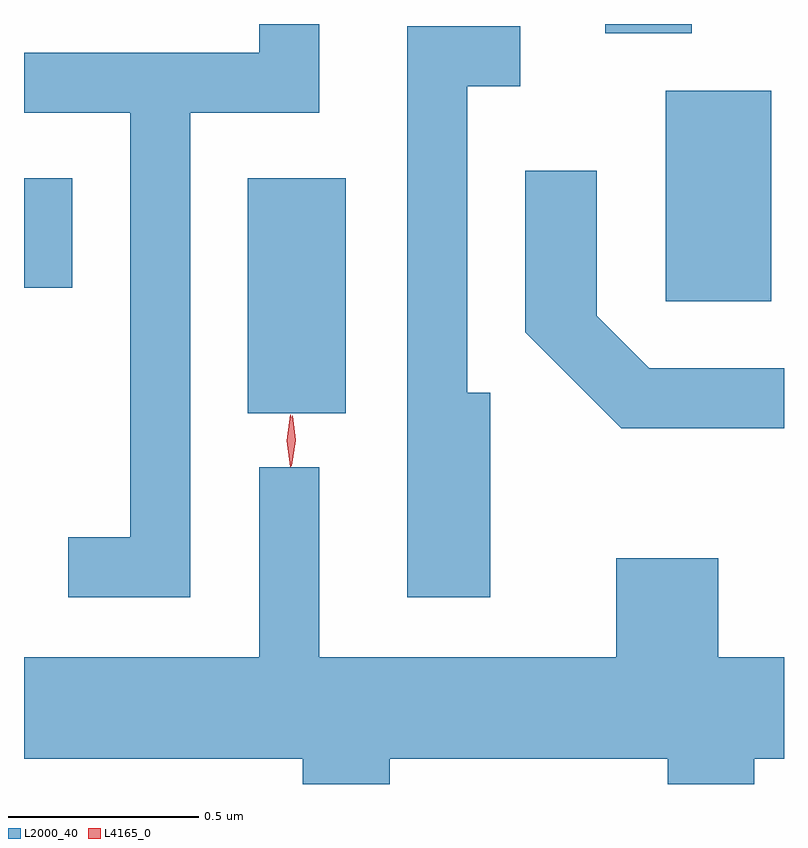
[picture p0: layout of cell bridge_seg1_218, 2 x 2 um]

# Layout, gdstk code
import gdstk
lib = gdstk.Library(unit=1e-6, precision=1e-09)
def R(c, l, rs):  # rectangles x0, y0, x1, y1
    for r in rs: c.add(gdstk.rectangle(r[:2], r[2:], *l))
def P(c, l, *ps):  # polygons
    for p in ps: c.add(gdstk.Polygon(p, *l))
L2000_40 = (2000, 40)
L4165_0 = (4165, 0)

bridge_seg1_218 = lib.new_cell('bridge_seg1_218')
R(bridge_seg1_218, L2000_40, [(770.246,858.306,770.504,858.924), (771.346,858.601,771.624,859.154), (769.657,858.636,769.784,858.924), (771.186,859.306,771.414,859.33)])
P(bridge_seg1_218, L2000_40, [(770.094,859.096),(770.434,859.096),(770.434,859.33),(770.276,859.33),(770.276,859.254),(769.657,859.254),(769.657,859.096),(769.936,859.096),(769.936,857.979),(769.773,857.979),(769.773,857.821),(770.094,857.821)],
  [(770.884,858.359),(770.824,858.359),(770.824,859.166),(770.963,859.166),(770.963,859.324),(770.666,859.324),(770.666,857.821),(770.884,857.821)],
  [(771.657,858.424),(771.302,858.424),(771.164,858.562),(771.164,858.944),(770.976,858.944),(770.976,858.519),(771.229,858.266),(771.657,858.266)],
  [(770.619,857.396),(771.351,857.396),(771.351,857.33),(771.579,857.33),(771.579,857.396),(771.657,857.396),(771.657,857.664),(771.484,857.664),(771.484,857.924),(771.216,857.924),(771.216,857.664),(770.434,857.664),(770.434,858.163),(770.276,858.163),(770.276,857.664),(769.657,857.664),(769.657,857.396),(770.391,857.396),(770.391,857.33),(770.619,857.33)])
P(bridge_seg1_218, L4165_0, [(770.358,858.164),(770.358,858.165),(770.348,858.233),(770.358,858.302),(770.358,858.302),(770.359,858.302),(770.368,858.233),(770.359,858.165)],
  [(770.36,858.168),(770.352,858.234),(770.363,858.299),(770.364,858.299),(770.364,858.299),(770.372,858.234),(770.361,858.168),(770.361,858.168)])

lib.write_gds('bridge_seg1_218.gds')
